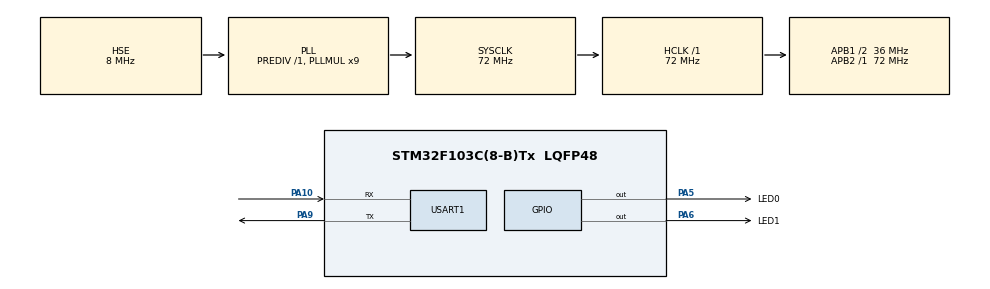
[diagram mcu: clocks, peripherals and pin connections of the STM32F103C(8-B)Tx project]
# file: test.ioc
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Mcu.Family=STM32F1
Mcu.Name=STM32F103C(8-B)Tx
Mcu.Package=LQFP48
NVIC.PriorityGroup=NVIC_PRIORITYGROUP_4
PA10.Mode=Asynchronous
PA10.Signal=USART1_RX
PA13.Mode=Serial_Wire
PA13.Signal=SYS_JTMS-SWDIO
PA14.Mode=Serial_Wire
PA14.Signal=SYS_JTCK-SWCLK
PA5.GPIO_Label=LED0
PA5.Signal=GPIO_Output
PA6.GPIO_Label=LED1
PA6.Signal=GPIO_Output
PA9.Mode=Asynchronous
PA9.Signal=USART1_TX
PC14-OSC32_IN.Mode=LSE-External-Oscillator
PC14-OSC32_IN.Signal=RCC_OSC32_IN
PC15-OSC32_OUT.Mode=LSE-External-Oscillator
PC15-OSC32_OUT.Signal=RCC_OSC32_OUT
PD0-OSC_IN.Mode=HSE-External-Oscillator
PD0-OSC_IN.Signal=RCC_OSC_IN
PD1-OSC_OUT.Mode=HSE-External-Oscillator
PD1-OSC_OUT.Signal=RCC_OSC_OUT
ProjectManager.HeapSize=0x200
ProjectManager.StackSize=0x400
ProjectManager.TargetToolchain=MDK-ARM V5
RCC.AHBFreq_Value=72000000
RCC.APB1CLKDivider=RCC_HCLK_DIV2
RCC.APB1Freq_Value=36000000
RCC.APB1TimFreq_Value=72000000
RCC.APB2Freq_Value=72000000
RCC.APB2TimFreq_Value=72000000
RCC.HCLKFreq_Value=72000000
RCC.PLLMUL=RCC_PLL_MUL9
RCC.PLLSourceVirtual=RCC_PLLSOURCE_HSE
RCC.SYSCLKFreq_VALUE=72000000
RCC.SYSCLKSource=RCC_SYSCLKSOURCE_PLLCLK
RCC.USBFreq_Value=72000000
USART1.VirtualMode=VM_ASYNC
board=custom

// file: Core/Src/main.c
#include "main.h"
#include "gpio.h"
#include "usart.h"

/* USER CODE BEGIN Includes */
#include <includes.h>
/* USER CODE END Includes */

/* USER CODE BEGIN PV */
/* 任务优先级 */

#define Led1_TASK_PRIO  3
#define Led2_TASK_PRIO  4
#define MSG_TASK_PRIO		5

/* 任务堆栈大小	*/

#define Led1_STK_SIZE 		64
#define Led2_STK_SIZE 		64
#define MSG_STK_SIZE 		64
//任务控制块
static  OS_TCB   AppTaskStartTCB;
static  OS_TCB Led1TaskTCB;
static  OS_TCB Led2TaskTCB;
static  OS_TCB MsgTaskTCB;
//任务堆栈
static  CPU_STK  AppTaskStartStk[APP_TASK_START_STK_SIZE];
static  CPU_STK Led1_TASK_STK[Led1_STK_SIZE];
static  CPU_STK Led2_TASK_STK[Led2_STK_SIZE];
static  CPU_STK MSG_TASK_STK[MSG_STK_SIZE];
/* 私有函数原形 --------------------------------------------------------------*/
static  void  AppTaskCreate(void);
static  void  AppObjCreate(void);
static  void  AppTaskStart(void *p_arg);
static  void  Led1(void *p_arg);
static  void  Led2(void *p_arg);
static  void  send_msg(void *p_arg);
/* USER CODE END PV */

void SystemClock_Config(void);

/* USER CODE BEGIN 0 */
/**
  * @brief System Clock Configuration
  * @retval None
  */
void SystemClock_Config(void)
{
  RCC_OscInitTypeDef RCC_OscInitStruct = {0};
  RCC_ClkInitTypeDef RCC_ClkInitStruct = {0};

  /**Initializes the CPU, AHB and APB busses clocks
  */
  RCC_OscInitStruct.OscillatorType = RCC_OSCILLATORTYPE_HSE;
  RCC_OscInitStruct.HSEState = RCC_HSE_ON;
  RCC_OscInitStruct.HSEPredivValue = RCC_HSE_PREDIV_DIV1;
  RCC_OscInitStruct.HSIState = RCC_HSI_ON;
  RCC_OscInitStruct.PLL.PLLState = RCC_PLL_ON;
  RCC_OscInitStruct.PLL.PLLSource = RCC_PLLSOURCE_HSE;
  RCC_OscInitStruct.PLL.PLLMUL = RCC_PLL_MUL9;
  if (HAL_RCC_OscConfig(&RCC_OscInitStruct) != HAL_OK)
  {
    Error_Handler();
  }
  /**Initializes the CPU, AHB and APB busses clocks
  */
  RCC_ClkInitStruct.ClockType = RCC_CLOCKTYPE_HCLK|RCC_CLOCKTYPE_SYSCLK
                              |RCC_CLOCKTYPE_PCLK1|RCC_CLOCKTYPE_PCLK2;
  RCC_ClkInitStruct.SYSCLKSource = RCC_SYSCLKSOURCE_PLLCLK;
  RCC_ClkInitStruct.AHBCLKDivider = RCC_SYSCLK_DIV1;
  RCC_ClkInitStruct.APB1CLKDivider = RCC_HCLK_DIV2;
  RCC_ClkInitStruct.APB2CLKDivider = RCC_HCLK_DIV1;

  if (HAL_RCC_ClockConfig(&RCC_ClkInitStruct, FLASH_LATENCY_2) != HAL_OK)
  {
    Error_Handler();
  }
}

/* USER CODE END 0 */

int main(void)
{
  /* USER CODE BEGIN 1 */
	OS_ERR  err;
  /* USER CODE END 1 */

  /* MCU Configuration--------------------------------------------------------*/

  /* Reset of all peripherals, Initializes the Flash interface and the Systick. */
//  HAL_Init();

  /* Configure the system clock */
//  SystemClock_Config();

  /* USER CODE BEGIN SysInit */
	OSInit(&err);
  /* USER CODE END SysInit */

  /* Initialize all configured peripherals */
//  MX_GPIO_Init();
  /* USER CODE BEGIN 2 */
 MX_USART1_UART_Init();
  /* USER CODE END 2 */

  /* Infinite loop */
  /* USER CODE BEGIN WHILE */

	/* 创建任务 */
	OSTaskCreate((OS_TCB   *)&AppTaskStartTCB,                /* Create the start task                                */
				 (CPU_CHAR   *)"App Task Start",
				 (OS_TASK_PTR ) AppTaskStart,
				 (void       *) 0,
				 (OS_PRIO     ) APP_TASK_START_PRIO,
				 (CPU_STK    *)&AppTaskStartStk[0],
				 (CPU_STK_SIZE) APP_TASK_START_STK_SIZE / 10,
				 (CPU_STK_SIZE) APP_TASK_START_STK_SIZE,
				 (OS_MSG_QTY  ) 0,
				 (OS_TICK     ) 0,
				 (void       *) 0,
				 (OS_OPT      )(OS_OPT_TASK_STK_CHK | OS_OPT_TASK_STK_CLR),
				 (OS_ERR     *)&err);

	/* 启动多任务系统，控制权交给uC/OS-III */
	OSStart(&err);            /* Start multitasking (i.e. give control to uC/OS-III). */

}

static  void  AppTaskStart (void *p_arg)
{
  OS_ERR err;
	CPU_SR_ALLOC();
	p_arg = p_arg;

	/* YangJie add 2021.05.20*/
  BSP_Init();                                                   /* Initialize BSP functions */
  //CPU_Init();
  //Mem_Init();                                                 /* Initialize Memory Management Module */

#if OS_CFG_STAT_TASK_EN > 0u
   OSStatTaskCPUUsageInit(&err);  		//统计任务
#endif

#ifdef CPU_CFG_INT_DIS_MEAS_EN			//如果使能了测量中断关闭时间
    CPU_IntDisMeasMaxCurReset();
#endif

#if	OS_CFG_SCHED_ROUND_ROBIN_EN  		//当使用时间片轮转的时候
	 //使能时间片轮转调度功能,时间片长度为1个系统时钟节拍，既1*5=5ms
	OSSchedRoundRobinCfg(DEF_ENABLED,1,&err);
#endif

	OS_CRITICAL_ENTER();	//进入临界区
	/* 创建LED1任务 */
	OSTaskCreate((OS_TCB 	* )&Led1TaskTCB,
				 (CPU_CHAR	* )"Led1_A5",
                 (OS_TASK_PTR )Led1,
                 (void		* )0,
                 (OS_PRIO	  )Led1_TASK_PRIO,
                 (CPU_STK   * )&Led1_TASK_STK[0],
                 (CPU_STK_SIZE)Led1_STK_SIZE/10,
                 (CPU_STK_SIZE)Led1_STK_SIZE,
                 (OS_MSG_QTY  )0,
                 (OS_TICK	  )0,
                 (void   	* )0,
                 (OS_OPT      )OS_OPT_TASK_STK_CHK|OS_OPT_TASK_STK_CLR,
                 (OS_ERR 	* )&err);
	/* 创建LED2任务 */
	OSTaskCreate((OS_TCB 	* )&Led2TaskTCB,
				 (CPU_CHAR	* )"Led2_A6",
                 (OS_TASK_PTR )Led2,
                 (void		* )0,
                 (OS_PRIO	  )Led2_TASK_PRIO,
                 (CPU_STK   * )&Led2_TASK_STK[0],
                 (CPU_STK_SIZE)Led2_STK_SIZE/10,
                 (CPU_STK_SIZE)Led2_STK_SIZE,
                 (OS_MSG_QTY  )0,
                 (OS_TICK	  )0,
                 (void   	* )0,
                 (OS_OPT      )OS_OPT_TASK_STK_CHK|OS_OPT_TASK_STK_CLR,
                 (OS_ERR 	* )&err);
	/* 创建Send任务 */
	OSTaskCreate((OS_TCB 	* )&MsgTaskTCB,
				 (CPU_CHAR	* )"send_msg",
                 (OS_TASK_PTR )send_msg,
                 (void		* )0,
                 (OS_PRIO	  )MSG_TASK_PRIO,
                 (CPU_STK   * )&MSG_TASK_STK[0],
                 (CPU_STK_SIZE)MSG_STK_SIZE/10,
                 (CPU_STK_SIZE)MSG_STK_SIZE,
                 (OS_MSG_QTY  )0,
                 (OS_TICK	  )0,
                 (void   	* )0,
                 (OS_OPT      )OS_OPT_TASK_STK_CHK|OS_OPT_TASK_STK_CLR,
                 (OS_ERR 	* )&err);

	OS_TaskSuspend((OS_TCB*)&AppTaskStart,&err);		//挂起开始任务
	OS_CRITICAL_EXIT();	//进入临界区

}
static  void  Led1 (void *p_arg)
{
  OS_ERR      err;

  (void)p_arg;

  BSP_Init();                                                 /* Initialize BSP functions                             */
  CPU_Init();

  Mem_Init();                                                 /* Initialize Memory Management Module                  */

#if OS_CFG_STAT_TASK_EN > 0u
  OSStatTaskCPUUsageInit(&err);                               /* Compute CPU capacity with no task running            */
#endif

  CPU_IntDisMeasMaxCurReset();

  AppTaskCreate();                                            /* Create Application Tasks                             */

  AppObjCreate();                                             /* Create Application Objects                           */

  while (DEF_TRUE)
  {
		HAL_GPIO_WritePin(LED0_GPIO_Port,LED0_Pin, GPIO_PIN_RESET);
		OSTimeDlyHMSM(0, 0, 1, 0,
                  OS_OPT_TIME_HMSM_STRICT,
                  &err);
		HAL_GPIO_WritePin(LED0_GPIO_Port,LED0_Pin, GPIO_PIN_SET);
		OSTimeDlyHMSM(0, 0, 1, 0,
                  OS_OPT_TIME_HMSM_STRICT,
                  &err);
  }
  /* USER CODE END 3 */
}
static  void  Led2 (void *p_arg)
{
  OS_ERR      err;

  (void)p_arg;

  BSP_Init();                                                 /* Initialize BSP functions                             */
  CPU_Init();

  Mem_Init();                                                 /* Initialize Memory Management Module                  */

#if OS_CFG_STAT_TASK_EN > 0u
  OSStatTaskCPUUsageInit(&err);                               /* Compute CPU capacity with no task running            */
#endif

  CPU_IntDisMeasMaxCurReset();

  AppTaskCreate();                                            /* Create Application Tasks                             */

  AppObjCreate();                                             /* Create Application Objects                           */

  while (DEF_TRUE)
  {
		HAL_GPIO_WritePin(LED1_GPIO_Port,LED1_Pin, GPIO_PIN_RESET);
		OSTimeDlyHMSM(0, 0, 3, 0,
                  OS_OPT_TIME_HMSM_STRICT,
                  &err);
		HAL_GPIO_WritePin(LED1_GPIO_Port,LED1_Pin, GPIO_PIN_SET);
		OSTimeDlyHMSM(0, 0, 3, 0,
                  OS_OPT_TIME_HMSM_STRICT,
                  &err);
  }
  /* USER CODE END 3 */
}
static  void  send_msg (void *p_arg)
{
  OS_ERR      err;

  (void)p_arg;

  BSP_Init();                                                 /* Initialize BSP functions                             */
  CPU_Init();

  Mem_Init();                                                 /* Initialize Memory Management Module                  */

#if OS_CFG_STAT_TASK_EN > 0u
  OSStatTaskCPUUsageInit(&err);                               /* Compute CPU capacity with no task running            */
#endif

  CPU_IntDisMeasMaxCurReset();

  while (DEF_TRUE)
  {
		printf("hello uc/OS!\r\n");
	  //延时2秒
		OSTimeDlyHMSM(0, 0, 2, 0,
                  OS_OPT_TIME_HMSM_STRICT,
                  &err);
  }

}

/* USER CODE BEGIN 4 */

static  void  AppTaskCreate (void)
{

}

static  void  AppObjCreate (void)
{

}
/* USER CODE END 4 */

void Error_Handler(void)
{
}

/************************ (C) COPYRIGHT STMicroelectronics *****END OF FILE****/
